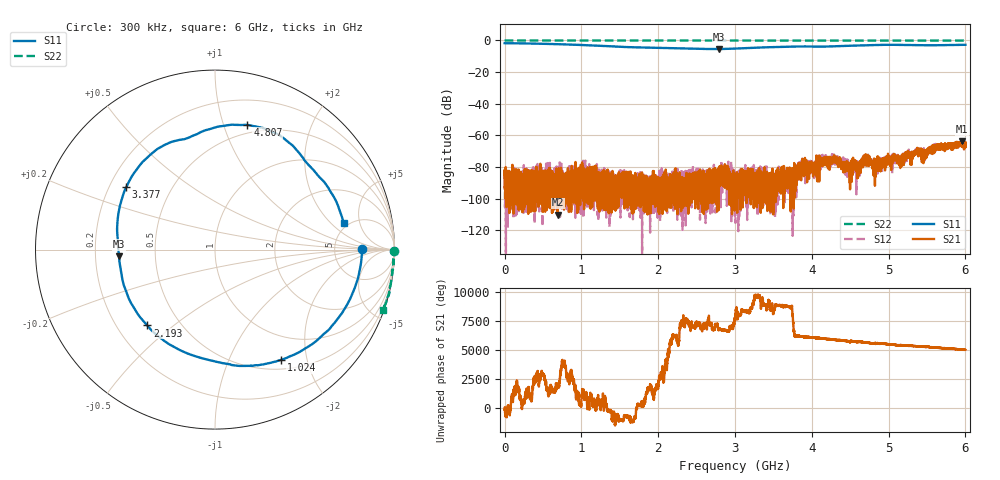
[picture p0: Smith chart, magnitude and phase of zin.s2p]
!  8/10/2020  01:58:47
! Ref Plane: 0.000 mm
# MHZ S MA R  50
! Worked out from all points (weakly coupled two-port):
!   10001 points, 300 kHz to 6 GHz, reference 50 ohm
!   highest |S21| = -63.79 dB at 5.957 GHz (marker M1); lowest = -110.1 dB at 690.9 MHz (marker M2)
!   lowest |S11| = -5.4 dB at 2.787 GHz (marker M3), VSWR 3.31, Z = 15.1 - j1.56 ohm
!   |S11| at or under -10 dB: nowhere
!   |S22| runs from -0.1 to 0.0 dB; largest |S21 - S12| = 0.00025
!   S11 on the Smith chart (normalised r, x): 300 kHz: 10, +0; 1.024 GHz: 0.63, -1.59; 2.193 GHz: 0.33, -0.41; 3.377 GHz: 0.27, +0.29; 4.807 GHz: 0.42, +1.20; 6 GHz: 4.61, +2.85
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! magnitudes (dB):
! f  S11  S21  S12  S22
! 300 kHz  -1.7  -84.3  -87.7  0.0
! 690.9 MHz  -2.3  -110.1  -91.9  0.0
! 1 GHz  -2.8  -80.4  -94.4  0.0
! 1.024 GHz  -2.9  -91.6  -80.2  0.0
! 2.001 GHz  -4.7  -88.6  -95.4  0.0
! 2.193 GHz  -4.9  -89.2  -93.2  0.0
! 2.787 GHz  -5.4  -107.2  -85.5  0.0
! 3 GHz  -5.1  -89.5  -90.5  0.0
! 3.377 GHz  -4.4  -93.6  -82.3  0.0
! 4 GHz  -3.8  -82.7  -76.5  0.0
! 4.285 GHz  -3.7  -74.9  -72.9  0.0
! 4.501 GHz  -3.3  -85.0  -84.6  0.0
! 4.61 GHz  -3.2  -81.0  -82.1  0.0
! 4.695 GHz  -3.1  -76.1  -74.0  0.0
! 4.807 GHz  -2.9  -80.8  -76.5  0.0
! 5 GHz  -2.8  -73.7  -76.3  0.0
! 5.157 GHz  -2.8  -75.5  -74.6  0.0
! 5.375 GHz  -3.0  -70.9  -68.9  0.0
! 5.48 GHz  -3.1  -69.7  -72.5  0.0
! 5.615 GHz  -3.0  -67.7  -67.8  -0.1
! 5.957 GHz  -2.7  -63.8  -65.0  -0.1
! 6 GHz  -2.7  -67.0  -65.6  -0.1
